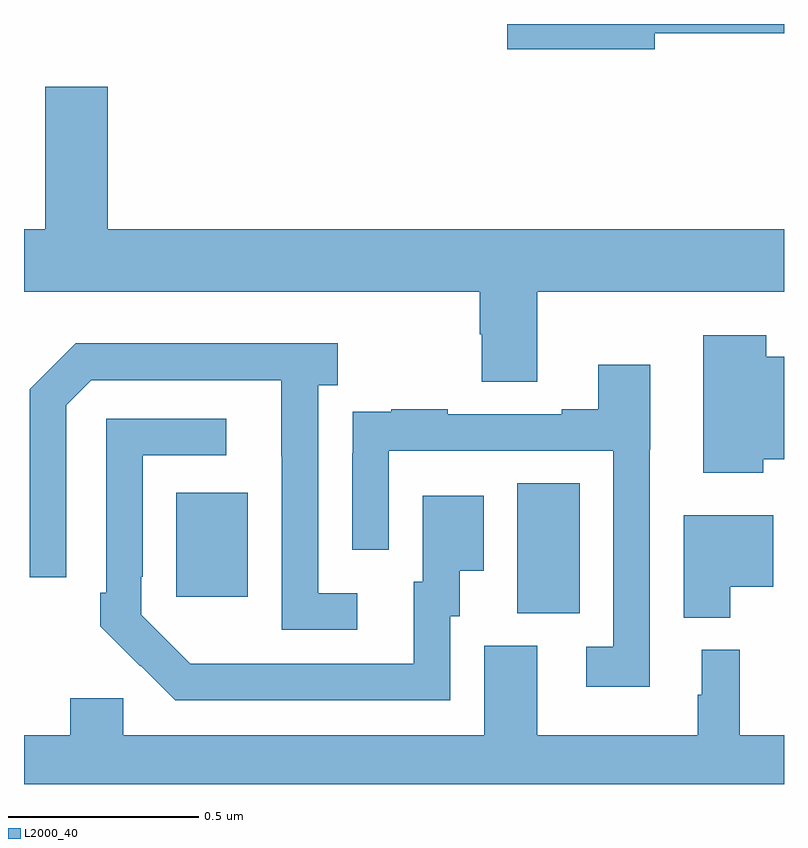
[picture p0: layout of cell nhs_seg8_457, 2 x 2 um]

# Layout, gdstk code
import gdstk
lib = gdstk.Library(unit=1e-6, precision=1e-09)
def R(c, l, rs):  # rectangles x0, y0, x1, y1
    for r in rs: c.add(gdstk.rectangle(r[:2], r[2:], *l))
def P(c, l, *ps):  # polygons
    for p in ps: c.add(gdstk.Polygon(p, *l))
L2000_40 = (2000, 40)

nhs_seg8_457 = lib.new_cell('nhs_seg8_457')
R(nhs_seg8_457, L2000_40, [(118.298,1086.349,118.462,1086.692), (117.401,1086.393,117.589,1086.667)])
P(nhs_seg8_457, L2000_40, [(118.66,1087.876),(119,1087.876),(119,1087.9),(118.272,1087.9),(118.272,1087.834),(118.66,1087.834)],
  [(118.351,1087.196),(119,1087.196),(119,1087.36),(117.22,1087.36),(117.22,1087.735),(117.056,1087.735),(117.056,1087.36),(117,1087.36),(117,1087.196),(118.199,1087.196),(118.199,1087.083),(118.204,1087.083),(118.204,1086.958),(118.351,1086.958)],
  [(118.945,1086.755),(119,1086.755),(119,1087.024),(118.953,1087.024),(118.953,1087.081),(118.787,1087.081),(118.787,1086.719),(118.945,1086.719)],
  [(117.877,1086.402),(117.774,1086.402),(117.774,1086.95),(117.826,1086.95),(117.826,1087.06),(117.136,1087.06),(117.015,1086.939),(117.015,1086.444),(117.111,1086.444),(117.111,1086.897),(117.177,1086.963),(117.677,1086.963),(117.677,1086.763),(117.678,1086.763),(117.678,1086.306),(117.877,1086.306)],
  [(118.647,1086.78),(118.648,1086.78),(118.648,1087.003),(118.511,1087.003),(118.511,1086.886),(118.415,1086.886),(118.415,1086.873),(118.115,1086.873),(118.115,1086.886),(117.967,1086.886),(117.967,1086.879),(117.865,1086.879),(117.865,1086.77),(117.864,1086.77),(117.864,1086.516),(117.96,1086.516),(117.96,1086.777),(118.551,1086.777),(118.551,1086.261),(118.479,1086.261),(118.479,1086.156),(118.647,1086.156)],
  [(118.122,1086.342),(118.147,1086.342),(118.147,1086.461),(118.21,1086.461),(118.21,1086.658),(118.049,1086.658),(118.049,1086.432),(118.025,1086.432),(118.025,1086.216),(117.541,1086.216),(117.541,1086.217),(117.438,1086.217),(117.309,1086.345),(117.309,1086.445),(117.312,1086.445),(117.312,1086.765),(117.532,1086.765),(117.532,1086.861),(117.216,1086.861),(117.216,1086.403),(117.201,1086.403),(117.201,1086.315),(117.306,1086.21),(117.307,1086.211),(117.398,1086.12),(118.122,1086.12)],
  [(118.858,1086.419),(118.972,1086.419),(118.972,1086.607),(118.736,1086.607),(118.736,1086.338),(118.858,1086.338)],
  [(119,1086.028),(118.883,1086.028),(118.883,1086.253),(118.784,1086.253),(118.784,1086.135),(118.773,1086.135),(118.773,1086.028),(118.351,1086.028),(118.351,1086.264),(118.211,1086.264),(118.211,1086.028),(117.261,1086.028),(117.261,1086.126),(117.122,1086.126),(117.122,1086.028),(117,1086.028),(117,1085.9),(119,1085.9)])

lib.write_gds('nhs_seg8_457.gds')
